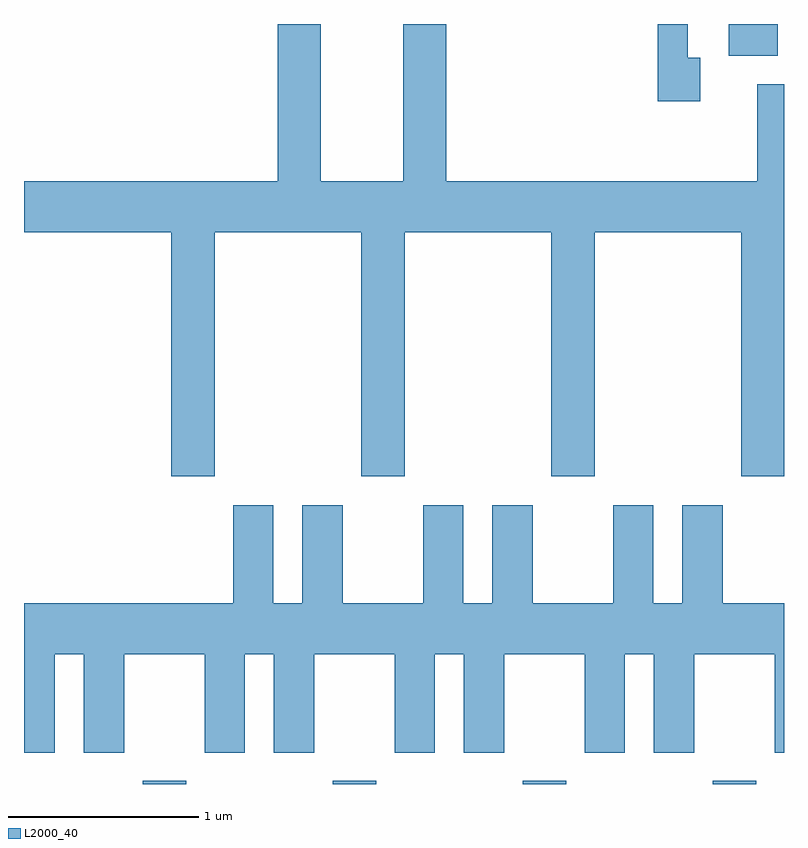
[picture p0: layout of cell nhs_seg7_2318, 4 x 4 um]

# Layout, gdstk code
import gdstk
lib = gdstk.Library(unit=1e-6, precision=1e-09)
def R(c, l, rs):  # rectangles x0, y0, x1, y1
    for r in rs: c.add(gdstk.rectangle(r[:2], r[2:], *l))
def A(c, l, x, y, w, h, nx, ny, dx, dy):  # array of equal rectangles
    R(c, l, [(x+i*dx, y+j*dy, x+i*dx+w, y+j*dy+h) for i in range(nx) for j in range(ny)])
def P(c, l, *ps):  # polygons
    for p in ps: c.add(gdstk.Polygon(p, *l))
L2000_40 = (2000, 40)

nhs_seg7_2318 = lib.new_cell('nhs_seg7_2318')
A(nhs_seg7_2318, L2000_40, 256.236, 1760.252, 0.228, 0.017, 4, 1, 1, 0)
R(nhs_seg7_2318, L2000_40, [(259.321,1764.086,259.579,1764.252)])
P(nhs_seg7_2318, L2000_40, [(259.169,1764.074),(259.104,1764.074),(259.104,1764.252),(258.946,1764.252),(258.946,1763.846),(259.169,1763.846)],
  [(256.614,1763.156),(257.386,1763.156),(257.386,1761.871),(257.614,1761.871),(257.614,1763.156),(258.386,1763.156),(258.386,1761.871),(258.614,1761.871),(258.614,1763.156),(259.386,1763.156),(259.386,1761.871),(259.611,1761.871),(259.611,1763.934),(259.471,1763.934),(259.471,1763.424),(257.834,1763.424),(257.834,1764.252),(257.606,1764.252),(257.606,1763.424),(257.174,1763.424),(257.174,1764.252),(256.946,1764.252),(256.946,1763.424),(255.611,1763.424),(255.611,1763.156),(256.386,1763.156),(256.386,1761.871),(256.614,1761.871)],
  [(255.774,1760.936),(255.926,1760.936),(255.926,1760.416),(256.139,1760.416),(256.139,1760.936),(256.561,1760.936),(256.561,1760.416),(256.774,1760.416),(256.774,1760.936),(256.926,1760.936),(256.926,1760.416),(257.139,1760.416),(257.139,1760.936),(257.561,1760.936),(257.561,1760.416),(257.774,1760.416),(257.774,1760.936),(257.926,1760.936),(257.926,1760.416),(258.139,1760.416),(258.139,1760.936),(258.561,1760.936),(258.561,1760.416),(258.774,1760.416),(258.774,1760.936),(258.926,1760.936),(258.926,1760.416),(259.139,1760.416),(259.139,1760.936),(259.561,1760.936),(259.561,1760.416),(259.611,1760.416),(259.611,1761.204),(259.289,1761.204),(259.289,1761.719),(259.076,1761.719),(259.076,1761.204),(258.924,1761.204),(258.924,1761.719),(258.711,1761.719),(258.711,1761.204),(258.289,1761.204),(258.289,1761.719),(258.076,1761.719),(258.076,1761.204),(257.924,1761.204),(257.924,1761.719),(257.711,1761.719),(257.711,1761.204),(257.289,1761.204),(257.289,1761.719),(257.076,1761.719),(257.076,1761.204),(256.924,1761.204),(256.924,1761.719),(256.711,1761.719),(256.711,1761.204),(255.611,1761.204),(255.611,1760.416),(255.774,1760.416)])

lib.write_gds('nhs_seg7_2318.gds')
